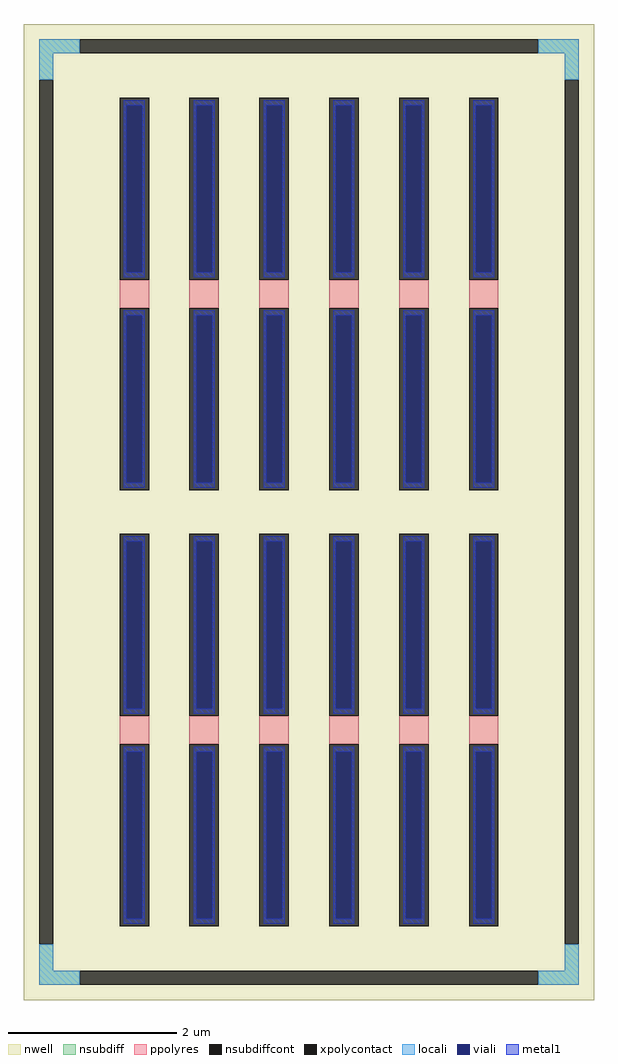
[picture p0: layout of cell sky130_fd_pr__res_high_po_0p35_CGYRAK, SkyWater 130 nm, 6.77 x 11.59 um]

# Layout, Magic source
magic
tech sky130A
magscale 1 2
<< nwell >>
rect -677 -1159 677 1159
<< nsubdiff >>
rect -641 1089 -545 1123
rect 545 1089 641 1123
rect -641 1027 -607 1089
rect 607 1027 641 1089
rect -641 -1089 -607 -1027
rect 607 -1089 641 -1027
rect -641 -1123 -545 -1089
rect 545 -1123 641 -1089
<< nsubdiffcont >>
rect -545 1089 545 1123
rect -641 -1027 -607 1027
rect 607 -1027 641 1027
rect -545 -1123 545 -1089
<< xpolycontact >>
rect -450 552 -380 984
rect -450 52 -380 484
rect -284 552 -214 984
rect -284 52 -214 484
rect -118 552 -48 984
rect -118 52 -48 484
rect 48 552 118 984
rect 48 52 118 484
rect 214 552 284 984
rect 214 52 284 484
rect 380 552 450 984
rect 380 52 450 484
rect -450 -484 -380 -52
rect -450 -984 -380 -552
rect -284 -484 -214 -52
rect -284 -984 -214 -552
rect -118 -484 -48 -52
rect -118 -984 -48 -552
rect 48 -484 118 -52
rect 48 -984 118 -552
rect 214 -484 284 -52
rect 214 -984 284 -552
rect 380 -484 450 -52
rect 380 -984 450 -552
<< ppolyres >>
rect -450 484 -380 552
rect -284 484 -214 552
rect -118 484 -48 552
rect 48 484 118 552
rect 214 484 284 552
rect 380 484 450 552
rect -450 -552 -380 -484
rect -284 -552 -214 -484
rect -118 -552 -48 -484
rect 48 -552 118 -484
rect 214 -552 284 -484
rect 380 -552 450 -484
<< locali >>
rect -641 1089 -545 1123
rect 545 1089 641 1123
rect -641 1027 -607 1089
rect 607 1027 641 1089
rect -641 -1089 -607 -1027
rect 607 -1089 641 -1027
rect -641 -1123 -545 -1089
rect 545 -1123 641 -1089
<< viali >>
rect -434 569 -396 966
rect -268 569 -230 966
rect -102 569 -64 966
rect 64 569 102 966
rect 230 569 268 966
rect 396 569 434 966
rect -434 70 -396 467
rect -268 70 -230 467
rect -102 70 -64 467
rect 64 70 102 467
rect 230 70 268 467
rect 396 70 434 467
rect -434 -467 -396 -70
rect -268 -467 -230 -70
rect -102 -467 -64 -70
rect 64 -467 102 -70
rect 230 -467 268 -70
rect 396 -467 434 -70
rect -434 -966 -396 -569
rect -268 -966 -230 -569
rect -102 -966 -64 -569
rect 64 -966 102 -569
rect 230 -966 268 -569
rect 396 -966 434 -569
<< metal1 >>
rect -440 966 -390 978
rect -440 569 -434 966
rect -396 569 -390 966
rect -440 557 -390 569
rect -274 966 -224 978
rect -274 569 -268 966
rect -230 569 -224 966
rect -274 557 -224 569
rect -108 966 -58 978
rect -108 569 -102 966
rect -64 569 -58 966
rect -108 557 -58 569
rect 58 966 108 978
rect 58 569 64 966
rect 102 569 108 966
rect 58 557 108 569
rect 224 966 274 978
rect 224 569 230 966
rect 268 569 274 966
rect 224 557 274 569
rect 390 966 440 978
rect 390 569 396 966
rect 434 569 440 966
rect 390 557 440 569
rect -440 467 -390 479
rect -440 70 -434 467
rect -396 70 -390 467
rect -440 58 -390 70
rect -274 467 -224 479
rect -274 70 -268 467
rect -230 70 -224 467
rect -274 58 -224 70
rect -108 467 -58 479
rect -108 70 -102 467
rect -64 70 -58 467
rect -108 58 -58 70
rect 58 467 108 479
rect 58 70 64 467
rect 102 70 108 467
rect 58 58 108 70
rect 224 467 274 479
rect 224 70 230 467
rect 268 70 274 467
rect 224 58 274 70
rect 390 467 440 479
rect 390 70 396 467
rect 434 70 440 467
rect 390 58 440 70
rect -440 -70 -390 -58
rect -440 -467 -434 -70
rect -396 -467 -390 -70
rect -440 -479 -390 -467
rect -274 -70 -224 -58
rect -274 -467 -268 -70
rect -230 -467 -224 -70
rect -274 -479 -224 -467
rect -108 -70 -58 -58
rect -108 -467 -102 -70
rect -64 -467 -58 -70
rect -108 -479 -58 -467
rect 58 -70 108 -58
rect 58 -467 64 -70
rect 102 -467 108 -70
rect 58 -479 108 -467
rect 224 -70 274 -58
rect 224 -467 230 -70
rect 268 -467 274 -70
rect 224 -479 274 -467
rect 390 -70 440 -58
rect 390 -467 396 -70
rect 434 -467 440 -70
rect 390 -479 440 -467
rect -440 -569 -390 -557
rect -440 -966 -434 -569
rect -396 -966 -390 -569
rect -440 -978 -390 -966
rect -274 -569 -224 -557
rect -274 -966 -268 -569
rect -230 -966 -224 -569
rect -274 -978 -224 -966
rect -108 -569 -58 -557
rect -108 -966 -102 -569
rect -64 -966 -58 -569
rect -108 -978 -58 -966
rect 58 -569 108 -557
rect 58 -966 64 -569
rect 102 -966 108 -569
rect 58 -978 108 -966
rect 224 -569 274 -557
rect 224 -966 230 -569
rect 268 -966 274 -569
rect 224 -978 274 -966
rect 390 -569 440 -557
rect 390 -966 396 -569
rect 434 -966 440 -569
rect 390 -978 440 -966
<< properties >>
string FIXED_BBOX -624 -1106 624 1106
string gencell sky130_fd_pr__res_high_po_0p35
string library sky130
string parameters w 0.350 l 0.50 m 2 nx 6 wmin 0.350 lmin 0.50 rho 319.8 val 1.57k dummy 0 dw 0.0 term 194.82 sterm 0.0 caplen 0 guard 1 glc 1 grc 1 gtc 1 gbc 1 compatible {sky130_fd_pr__res_high_po_0p35  sky130_fd_pr__res_high_po_0p69 sky130_fd_pr__res_high_po_1p41  sky130_fd_pr__res_high_po_2p85 sky130_fd_pr__res_high_po_5p73} snake 0 full_metal 1 wmax 0.350 vias 1 n_guard 1 hv_guard 0 viagb 0 viagt 0 viagl 0 viagr 0
<< end >>
